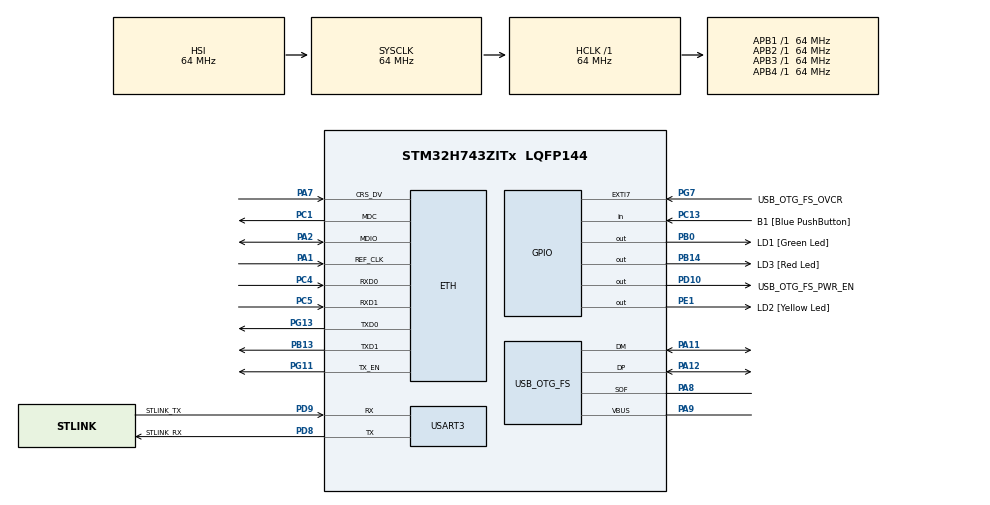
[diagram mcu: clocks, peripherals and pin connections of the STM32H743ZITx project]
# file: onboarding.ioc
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ETH.MediaInterface=HAL_ETH_RMII_MODE
Mcu.Family=STM32H7
Mcu.Name=STM32H743ZITx
Mcu.Package=LQFP144
NVIC.PriorityGroup=NVIC_PRIORITYGROUP_4
NVIC.TIM16_IRQn=true\:0\:0\:false\:false\:true\:true\:true\:true
PA1.Mode=RMII
PA1.Signal=ETH_REF_CLK
PA11.Mode=Device_Only
PA11.Signal=USB_OTG_FS_DM
PA12.Mode=Device_Only
PA12.Signal=USB_OTG_FS_DP
PA2.Mode=RMII
PA2.Signal=ETH_MDIO
PA7.Mode=RMII
PA7.Signal=ETH_CRS_DV
PA8.Mode=Activate_SOF_FS
PA8.Signal=USB_OTG_FS_SOF
PA9.Mode=Activate_VBUS
PA9.Signal=USB_OTG_FS_VBUS
PB0.GPIO_Label=LD1 [Green Led]
PB0.Signal=GPIO_Output
PB13.Mode=RMII
PB13.Signal=ETH_TXD1
PB14.GPIO_Label=LD3 [Red Led]
PB14.Signal=GPIO_Output
PC1.Mode=RMII
PC1.Signal=ETH_MDC
PC13.GPIO_Label=B1 [Blue PushButton]
PC13.Signal=GPIO_Input
PC14-OSC32_IN\ (OSC32_IN).Mode=LSE-External-Oscillator
PC14-OSC32_IN\ (OSC32_IN).Signal=RCC_OSC32_IN
PC15-OSC32_OUT\ (OSC32_OUT).Mode=LSE-External-Oscillator
PC15-OSC32_OUT\ (OSC32_OUT).Signal=RCC_OSC32_OUT
PC4.Mode=RMII
PC4.Signal=ETH_RXD0
PC5.Mode=RMII
PC5.Signal=ETH_RXD1
PD10.GPIO_Label=USB_OTG_FS_PWR_EN
PD10.Signal=GPIO_Output
PD8.GPIO_Label=STLINK_RX
PD8.Mode=Asynchronous
PD8.Signal=USART3_TX
PD9.GPIO_Label=STLINK_TX
PD9.Mode=Asynchronous
PD9.Signal=USART3_RX
PE1.GPIO_Label=LD2 [Yellow Led]
PE1.Signal=GPIO_Output
PG11.Mode=RMII
PG11.Signal=ETH_TX_EN
PG13.Mode=RMII
PG13.Signal=ETH_TXD0
PG7.GPIO_Label=USB_OTG_FS_OVCR
PG7.Signal=GPXTI7
PH0-OSC_IN\ (PH0).Mode=HSE-External-Clock-Source
PH0-OSC_IN\ (PH0).Signal=RCC_OSC_IN
PH1-OSC_OUT\ (PH1).Signal=RCC_OSC_OUT
ProjectManager.HeapSize=0x200
ProjectManager.StackSize=0x400
ProjectManager.TargetToolchain=STM32CubeIDE
RCC.ADCFreq_Value=16125000
RCC.APB1Freq_Value=64000000
RCC.APB2Freq_Value=64000000
RCC.APB3Freq_Value=64000000
RCC.APB4Freq_Value=64000000
RCC.CortexFreq_Value=64000000
RCC.DIVM1=1
RCC.DIVN1=24
RCC.DIVQ1=4
RCC.HCLKFreq_Value=64000000
RCC.HSE_VALUE=8000000
RCC.PLLFRACN=0
RCC.PWR_Regulator_Voltage_Scale=PWR_REGULATOR_VOLTAGE_SCALE2
RCC.SYSCLKFreq_VALUE=64000000
RCC.USBFreq_Value=48000000
TIM16.Period=65535
TIM16.Prescaler=6400 - 1
USART3.VirtualMode-Asynchronous=VM_ASYNC
USB_OTG_FS.VirtualMode=Device_Only
VP_TIM16_VS_ClockSourceINT.Mode=Enable_Timer
board=NUCLEO-H743ZI2

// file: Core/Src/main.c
/* USER CODE BEGIN Header */
/**
  ******************************************************************************
  * @file           : main.c
  * @brief          : Main program body
  ******************************************************************************
  * @attention
  *
  * Copyright (c) 2023 STMicroelectronics.
  * All rights reserved.
  *
  * This software is licensed under terms that can be found in the LICENSE file
  * in the root directory of this software component.
  * If no LICENSE file comes with this software, it is provided AS-IS.
  *
  ******************************************************************************
  */
/* USER CODE END Header */
#include "main.h"
#include "string.h"
#define GPIO_NUMBER           (16U)

#if defined ( __ICCARM__ ) /*!< IAR Compiler */
#pragma location=0x30000000
ETH_DMADescTypeDef  DMARxDscrTab[ETH_RX_DESC_CNT]; /* Ethernet Rx DMA Descriptors */
#pragma location=0x30000200
ETH_DMADescTypeDef  DMATxDscrTab[ETH_TX_DESC_CNT]; /* Ethernet Tx DMA Descriptors */

#elif defined ( __CC_ARM )  /* MDK ARM Compiler */

__attribute__((at(0x30000000))) ETH_DMADescTypeDef  DMARxDscrTab[ETH_RX_DESC_CNT]; /* Ethernet Rx DMA Descriptors */
__attribute__((at(0x30000200))) ETH_DMADescTypeDef  DMATxDscrTab[ETH_TX_DESC_CNT]; /* Ethernet Tx DMA Descriptors */

#elif defined ( __GNUC__ ) /* GNU Compiler */
ETH_DMADescTypeDef DMARxDscrTab[ETH_RX_DESC_CNT] __attribute__((section(".RxDecripSection"))); /* Ethernet Rx DMA Descriptors */
ETH_DMADescTypeDef DMATxDscrTab[ETH_TX_DESC_CNT] __attribute__((section(".TxDecripSection")));   /* Ethernet Tx DMA Descriptors */

#endif

ETH_TxPacketConfig TxConfig;

ETH_HandleTypeDef heth;

TIM_HandleTypeDef htim16;

UART_HandleTypeDef huart3;

PCD_HandleTypeDef hpcd_USB_OTG_FS;

void SystemClock_Config(void);
static void MX_GPIO_Init(void);
static void MX_ETH_Init(void);
static void MX_USART3_UART_Init(void);
static void MX_USB_OTG_FS_PCD_Init(void);
static void MX_TIM16_Init(void);

int main(void)
{
  /* USER CODE BEGIN 1 */
	uint16_t timer_val_1;
	uint16_t timer_val_2;
	uint16_t timer_val_3;

	// button state
	GPIO_PinState btn_cur_state;

	// LEDstate
	int cur_LED = 0;
  /* USER CODE END 1 */

  /* MCU Configuration--------------------------------------------------------*/

  /* Reset of all peripherals, Initializes the Flash interface and the Systick. */
  HAL_Init();

  /* Configure the system clock */
  SystemClock_Config();

  /* Initialize all configured peripherals */
  MX_GPIO_Init();
  MX_ETH_Init();
  MX_USART3_UART_Init();
  MX_USB_OTG_FS_PCD_Init();
  MX_TIM16_Init();
  /* USER CODE BEGIN 2 */

  // start timer
  HAL_TIM_Base_Start_IT(&htim16);

  // get current time
  timer_val_1 = __HAL_TIM_GET_COUNTER(&htim16);
  timer_val_2 = __HAL_TIM_GET_COUNTER(&htim16);
  timer_val_3 = __HAL_TIM_GET_COUNTER(&htim16);

  /* USER CODE END 2 */

  /* Infinite loop */
  /* USER CODE BEGIN WHILE */
  while (1)
  {
	  btn_cur_state = HAL_GPIO_ReadPin(GPIOC, GPIO_PIN_13);
	  if (btn_cur_state == 1){
		  btn_cur_state = HAL_GPIO_ReadPin(GPIOC, GPIO_PIN_13);
		  if (btn_cur_state == 0){

			  if (cur_LED == 3){
				  cur_LED = 1;
			  }
			  else{
				  cur_LED++;
			  }
		  }
	  }

	  switch (cur_LED){
	  case 1:
		  HAL_GPIO_WritePin(GPIOE, GPIO_PIN_1, 0);
		  HAL_GPIO_WritePin(GPIOB, GPIO_PIN_14, 0);
		  if (__HAL_TIM_GET_COUNTER(&htim16) - timer_val_1 >= 10000){
		  		   uint32_t odr = GPIOB->ODR;
		  		   GPIOB->BSRR = ((odr & GPIO_PIN_0) << GPIO_NUMBER) | (~odr & GPIO_PIN_0);
		  		   timer_val_1 = __HAL_TIM_GET_COUNTER(&htim16);
		  	 }
		  break;
	  case 2:
		  HAL_GPIO_WritePin(GPIOB, GPIO_PIN_0, 0);
		  HAL_GPIO_WritePin(GPIOB, GPIO_PIN_14, 0);
		  if (__HAL_TIM_GET_COUNTER(&htim16) - timer_val_2 >= 5000){
		  	 		 HAL_GPIO_TogglePin(GPIOE, GPIO_PIN_1);
		  	 		 timer_val_2 = __HAL_TIM_GET_COUNTER(&htim16);
		  	 }
		  break;
	  case 3:
		  HAL_GPIO_WritePin(GPIOB, GPIO_PIN_0, 0);
		  HAL_GPIO_WritePin(GPIOE, GPIO_PIN_1, 0);
		  if (__HAL_TIM_GET_COUNTER(&htim16) - timer_val_3 >= 2500){
		  	 		 HAL_GPIO_TogglePin(GPIOB, GPIO_PIN_14);
		  	 		 timer_val_3 = __HAL_TIM_GET_COUNTER(&htim16);
		  	 }
		  break;
	  }

    /* USER CODE END WHILE */

  }
}

void SystemClock_Config(void)
{
  RCC_OscInitTypeDef RCC_OscInitStruct = {0};
  RCC_ClkInitTypeDef RCC_ClkInitStruct = {0};

  /** Supply configuration update enable
  */
  HAL_PWREx_ConfigSupply(PWR_LDO_SUPPLY);

  /** Configure the main internal regulator output voltage
  */
  __HAL_PWR_VOLTAGESCALING_CONFIG(PWR_REGULATOR_VOLTAGE_SCALE2);

  while(!__HAL_PWR_GET_FLAG(PWR_FLAG_VOSRDY)) {}

  /** Initializes the RCC Oscillators according to the specified parameters
  * in the RCC_OscInitTypeDef structure.
  */
  RCC_OscInitStruct.OscillatorType = RCC_OSCILLATORTYPE_HSI|RCC_OSCILLATORTYPE_HSE;
  RCC_OscInitStruct.HSEState = RCC_HSE_BYPASS;
  RCC_OscInitStruct.HSIState = RCC_HSI_DIV1;
  RCC_OscInitStruct.HSICalibrationValue = RCC_HSICALIBRATION_DEFAULT;
  RCC_OscInitStruct.PLL.PLLState = RCC_PLL_ON;
  RCC_OscInitStruct.PLL.PLLSource = RCC_PLLSOURCE_HSE;
  RCC_OscInitStruct.PLL.PLLM = 1;
  RCC_OscInitStruct.PLL.PLLN = 24;
  RCC_OscInitStruct.PLL.PLLP = 2;
  RCC_OscInitStruct.PLL.PLLQ = 4;
  RCC_OscInitStruct.PLL.PLLR = 2;
  RCC_OscInitStruct.PLL.PLLRGE = RCC_PLL1VCIRANGE_3;
  RCC_OscInitStruct.PLL.PLLVCOSEL = RCC_PLL1VCOWIDE;
  RCC_OscInitStruct.PLL.PLLFRACN = 0;
  if (HAL_RCC_OscConfig(&RCC_OscInitStruct) != HAL_OK)
  {
    Error_Handler();
  }

  /** Initializes the CPU, AHB and APB buses clocks
  */
  RCC_ClkInitStruct.ClockType = RCC_CLOCKTYPE_HCLK|RCC_CLOCKTYPE_SYSCLK
                              |RCC_CLOCKTYPE_PCLK1|RCC_CLOCKTYPE_PCLK2
                              |RCC_CLOCKTYPE_D3PCLK1|RCC_CLOCKTYPE_D1PCLK1;
  RCC_ClkInitStruct.SYSCLKSource = RCC_SYSCLKSOURCE_HSI;
  RCC_ClkInitStruct.SYSCLKDivider = RCC_SYSCLK_DIV1;
  RCC_ClkInitStruct.AHBCLKDivider = RCC_HCLK_DIV1;
  RCC_ClkInitStruct.APB3CLKDivider = RCC_APB3_DIV1;
  RCC_ClkInitStruct.APB1CLKDivider = RCC_APB1_DIV1;
  RCC_ClkInitStruct.APB2CLKDivider = RCC_APB2_DIV1;
  RCC_ClkInitStruct.APB4CLKDivider = RCC_APB4_DIV1;

  if (HAL_RCC_ClockConfig(&RCC_ClkInitStruct, FLASH_LATENCY_1) != HAL_OK)
  {
    Error_Handler();
  }
}

static void MX_ETH_Init(void)
{

   static uint8_t MACAddr[6];

  heth.Instance = ETH;
  MACAddr[0] = 0x00;
  MACAddr[1] = 0x80;
  MACAddr[2] = 0xE1;
  MACAddr[3] = 0x00;
  MACAddr[4] = 0x00;
  MACAddr[5] = 0x00;
  heth.Init.MACAddr = &MACAddr[0];
  heth.Init.MediaInterface = HAL_ETH_RMII_MODE;
  heth.Init.TxDesc = DMATxDscrTab;
  heth.Init.RxDesc = DMARxDscrTab;
  heth.Init.RxBuffLen = 1524;

  if (HAL_ETH_Init(&heth) != HAL_OK)
  {
    Error_Handler();
  }

  memset(&TxConfig, 0 , sizeof(ETH_TxPacketConfig));
  TxConfig.Attributes = ETH_TX_PACKETS_FEATURES_CSUM | ETH_TX_PACKETS_FEATURES_CRCPAD;
  TxConfig.ChecksumCtrl = ETH_CHECKSUM_IPHDR_PAYLOAD_INSERT_PHDR_CALC;
  TxConfig.CRCPadCtrl = ETH_CRC_PAD_INSERT;

}

static void MX_TIM16_Init(void)
{

  htim16.Instance = TIM16;
  htim16.Init.Prescaler = 6400 - 1;
  htim16.Init.CounterMode = TIM_COUNTERMODE_UP;
  htim16.Init.Period = 65535;
  htim16.Init.ClockDivision = TIM_CLOCKDIVISION_DIV1;
  htim16.Init.RepetitionCounter = 0;
  htim16.Init.AutoReloadPreload = TIM_AUTORELOAD_PRELOAD_DISABLE;
  if (HAL_TIM_Base_Init(&htim16) != HAL_OK)
  {
    Error_Handler();
  }

}

static void MX_USART3_UART_Init(void)
{

  huart3.Instance = USART3;
  huart3.Init.BaudRate = 115200;
  huart3.Init.WordLength = UART_WORDLENGTH_8B;
  huart3.Init.StopBits = UART_STOPBITS_1;
  huart3.Init.Parity = UART_PARITY_NONE;
  huart3.Init.Mode = UART_MODE_TX_RX;
  huart3.Init.HwFlowCtl = UART_HWCONTROL_NONE;
  huart3.Init.OverSampling = UART_OVERSAMPLING_16;
  huart3.Init.OneBitSampling = UART_ONE_BIT_SAMPLE_DISABLE;
  huart3.Init.ClockPrescaler = UART_PRESCALER_DIV1;
  huart3.AdvancedInit.AdvFeatureInit = UART_ADVFEATURE_NO_INIT;
  if (HAL_UART_Init(&huart3) != HAL_OK)
  {
    Error_Handler();
  }
  if (HAL_UARTEx_SetTxFifoThreshold(&huart3, UART_TXFIFO_THRESHOLD_1_8) != HAL_OK)
  {
    Error_Handler();
  }
  if (HAL_UARTEx_SetRxFifoThreshold(&huart3, UART_RXFIFO_THRESHOLD_1_8) != HAL_OK)
  {
    Error_Handler();
  }
  if (HAL_UARTEx_DisableFifoMode(&huart3) != HAL_OK)
  {
    Error_Handler();
  }

}

static void MX_USB_OTG_FS_PCD_Init(void)
{

  hpcd_USB_OTG_FS.Instance = USB_OTG_FS;
  hpcd_USB_OTG_FS.Init.dev_endpoints = 9;
  hpcd_USB_OTG_FS.Init.speed = PCD_SPEED_FULL;
  hpcd_USB_OTG_FS.Init.dma_enable = DISABLE;
  hpcd_USB_OTG_FS.Init.phy_itface = PCD_PHY_EMBEDDED;
  hpcd_USB_OTG_FS.Init.Sof_enable = ENABLE;
  hpcd_USB_OTG_FS.Init.low_power_enable = DISABLE;
  hpcd_USB_OTG_FS.Init.lpm_enable = DISABLE;
  hpcd_USB_OTG_FS.Init.battery_charging_enable = ENABLE;
  hpcd_USB_OTG_FS.Init.vbus_sensing_enable = ENABLE;
  hpcd_USB_OTG_FS.Init.use_dedicated_ep1 = DISABLE;
  if (HAL_PCD_Init(&hpcd_USB_OTG_FS) != HAL_OK)
  {
    Error_Handler();
  }

}

static void MX_GPIO_Init(void)
{
  GPIO_InitTypeDef GPIO_InitStruct = {0};

  /* GPIO Ports Clock Enable */
  __HAL_RCC_GPIOC_CLK_ENABLE();
  __HAL_RCC_GPIOH_CLK_ENABLE();
  __HAL_RCC_GPIOA_CLK_ENABLE();
  __HAL_RCC_GPIOB_CLK_ENABLE();
  __HAL_RCC_GPIOD_CLK_ENABLE();
  __HAL_RCC_GPIOG_CLK_ENABLE();
  __HAL_RCC_GPIOE_CLK_ENABLE();

  /*Configure GPIO pin Output Level */
  HAL_GPIO_WritePin(GPIOB, LD1_Pin|LD3_Pin, GPIO_PIN_RESET);

  /*Configure GPIO pin Output Level */
  HAL_GPIO_WritePin(USB_OTG_FS_PWR_EN_GPIO_Port, USB_OTG_FS_PWR_EN_Pin, GPIO_PIN_RESET);

  /*Configure GPIO pin Output Level */
  HAL_GPIO_WritePin(LD2_GPIO_Port, LD2_Pin, GPIO_PIN_RESET);

  /*Configure GPIO pin : B1_Pin */
  GPIO_InitStruct.Pin = B1_Pin;
  GPIO_InitStruct.Mode = GPIO_MODE_INPUT;
  GPIO_InitStruct.Pull = GPIO_NOPULL;
  HAL_GPIO_Init(B1_GPIO_Port, &GPIO_InitStruct);

  /*Configure GPIO pins : LD1_Pin LD3_Pin */
  GPIO_InitStruct.Pin = LD1_Pin|LD3_Pin;
  GPIO_InitStruct.Mode = GPIO_MODE_OUTPUT_PP;
  GPIO_InitStruct.Pull = GPIO_NOPULL;
  GPIO_InitStruct.Speed = GPIO_SPEED_FREQ_LOW;
  HAL_GPIO_Init(GPIOB, &GPIO_InitStruct);

  /*Configure GPIO pin : USB_OTG_FS_PWR_EN_Pin */
  GPIO_InitStruct.Pin = USB_OTG_FS_PWR_EN_Pin;
  GPIO_InitStruct.Mode = GPIO_MODE_OUTPUT_PP;
  GPIO_InitStruct.Pull = GPIO_NOPULL;
  GPIO_InitStruct.Speed = GPIO_SPEED_FREQ_LOW;
  HAL_GPIO_Init(USB_OTG_FS_PWR_EN_GPIO_Port, &GPIO_InitStruct);

  /*Configure GPIO pin : USB_OTG_FS_OVCR_Pin */
  GPIO_InitStruct.Pin = USB_OTG_FS_OVCR_Pin;
  GPIO_InitStruct.Mode = GPIO_MODE_IT_RISING;
  GPIO_InitStruct.Pull = GPIO_NOPULL;
  HAL_GPIO_Init(USB_OTG_FS_OVCR_GPIO_Port, &GPIO_InitStruct);

  /*Configure GPIO pin : LD2_Pin */
  GPIO_InitStruct.Pin = LD2_Pin;
  GPIO_InitStruct.Mode = GPIO_MODE_OUTPUT_PP;
  GPIO_InitStruct.Pull = GPIO_NOPULL;
  GPIO_InitStruct.Speed = GPIO_SPEED_FREQ_LOW;
  HAL_GPIO_Init(LD2_GPIO_Port, &GPIO_InitStruct);

}

/* USER CODE BEGIN 4 */
// Callback: timer has reset
//void HAL_TIM_PeriodElapsedCallBack(TIM_HandleTypeDef *htim)
//{
//	// check which version of the timer triggered this callback and toggle LED
//	if (htim == &htim16){
//		HAL_GPIO_TogglePin(GPIOE, GPIO_PIN_1);
//	}
//}

/* USER CODE END 4 */

void Error_Handler(void)
{
  __disable_irq();
  while (1)
  {
  }
}
